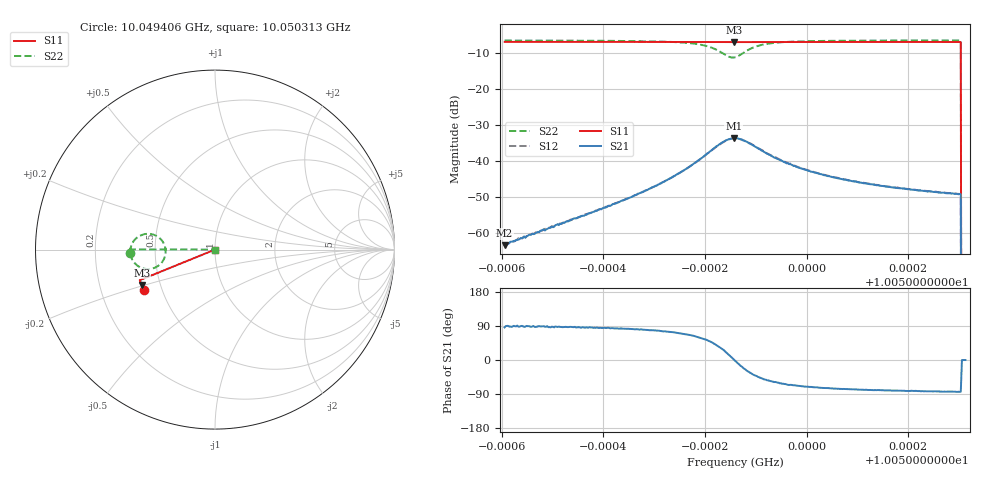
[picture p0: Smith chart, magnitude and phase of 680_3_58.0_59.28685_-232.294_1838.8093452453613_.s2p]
#  HZ  S  RI  R  50.00
! Rohde & Schwarz Vector Network Analyzer
! Rohde-Schwarz,ZNB20-2Port,1311601062101988,3.16
! Created: UTC 3/21/2024, 1:20:50 AM
! freq[Hz]  re:S11  im:S11  re:S21  im:S21  re:S12  im:S12  re:S22  im:S22
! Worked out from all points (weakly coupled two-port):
!   401 points, 10.049406 GHz to 10.050313 GHz, reference 50 ohm
!   highest |S21| = -33.60 dB at 10.049857 GHz (marker M1); lowest = -63.4 dB at 10.049406 GHz (marker M2)
!   lowest |S11| = -6.9 dB at 10.049857 GHz (marker M3), VSWR 2.64, Z = 19.8 - j9.75 ohm
!   |S11| at or under -10 dB: 10.050304 GHz to end of sweep
!   |S22| runs from - to -6.5 dB; largest |S21 - S12| = 0.0017
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1.00494056e10  -0.3951 -0.2239  4.6e-05 0.000674  -2.54e-05 0.000659  -0.4739 -0.0162
1.00494146e10  -0.3953 -0.2233  2.17e-05 0.00073  -1.59e-05 0.000722  -0.4739 -0.0151
1.00494872e10  -0.3978 -0.219  4.63e-05 0.00112  -2.9e-05 0.00116  -0.4732 -0.00661
1.00495575e10  -0.3998 -0.2147  0.000132 0.00173  1.4e-05 0.00173  -0.4716 0.0037
1.00496505e10  -0.4024 -0.2092  0.000419 0.00305  0.000243 0.0031  -0.4665 0.022
1.00497095e10  -0.4041 -0.2054  0.00106 0.00466  0.000827 0.00469  -0.4578 0.0403
1.00497662e10  -0.4056 -0.2017  0.00317 0.00746  0.00268 0.00759  -0.4338 0.0675
1.00497957e10  -0.406 -0.1996  0.00629 0.00943  0.00566 0.00976  -0.4011 0.0842
1.00498161e10  -0.4061 -0.1982  0.0105 0.0104  0.0099 0.0109  -0.3602 0.0873
1.00498411e10  -0.406 -0.197  0.0182 0.00685  0.0174 0.00814  -0.2932 0.0469
1.00498569e10  -0.406 -0.1966  0.0209 0.000362  0.0205 0.00199  -0.2752 -0.0164
1.00498592e10  -0.4061 -0.1966  0.0207 -0.000673  0.0207 0.00103  -0.2762 -0.0264
1.00498705e10  -0.4064 -0.1965  0.0194 -0.00548  0.0198 -0.00381  -0.2949 -0.0698
1.00498842e10  -0.4071 -0.1961  0.0159 -0.00904  0.0167 -0.00781  -0.333 -0.1
1.00499159e10  -0.4087 -0.1946  0.00852 -0.0105  0.00935 -0.00974  -0.4059 -0.1032
1.00499567e10  -0.4102 -0.192  0.00434 -0.00865  0.005 -0.0085  -0.4452 -0.0778
1.00500112e10  -0.412 -0.1886  0.00226 -0.00674  0.00272 -0.00664  -0.463 -0.0523
1.00500792e10  -0.4137 -0.1844  0.00125 -0.00531  0.0016 -0.00527  -0.4704 -0.0324
1.00501632e10  -0.4159 -0.1792  0.000742 -0.00433  0.00101 -0.0043  -0.4737 -0.0166
1.00502992e10  -0.4192 -0.1706  0.000354 -0.00345  0.000582 -0.00346  -0.4752 0.00111
1.00503106e10  0 0  0 0  0 0  0 0
1.00503129e10  0 0  0 0  0 0  0 0
